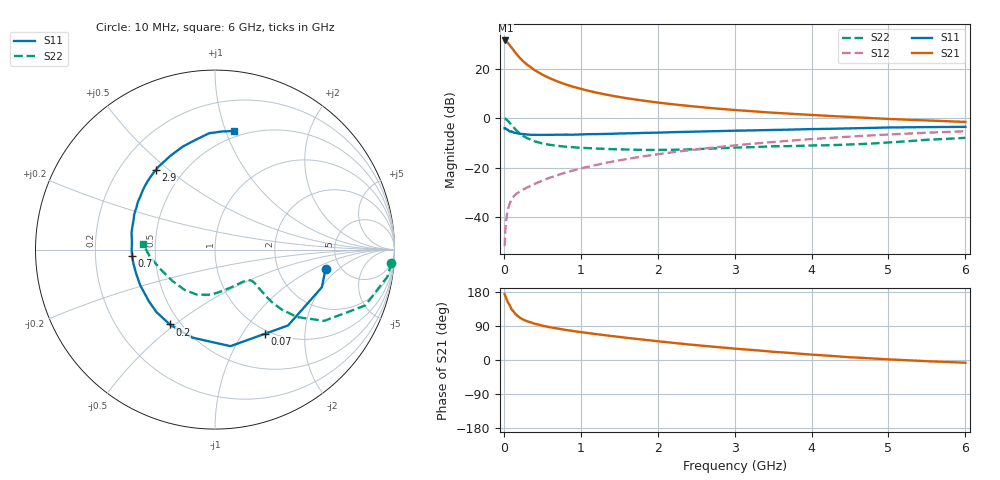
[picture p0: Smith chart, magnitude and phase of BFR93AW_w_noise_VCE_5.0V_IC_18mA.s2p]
! (c) 2017  Infineon Technologies AG, Munich
! Infineon Technologies  Discrete & RF Semiconductors
! BFR93AW
! VCE =  5.0 V,  IC =  18 mA
! Common Emitter S-Parameters:  Jan 2017
# GHz  S  MA  R  50
!  f  S11  S21  S12  S22
! GHz  MAG  ANG  MAG  ANG  MAG  ANG  MAG  ANG
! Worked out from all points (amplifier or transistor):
!   77 points, 10 MHz to 6 GHz, reference 50 ohm
!   highest |S21| = 31.4 dB at 20 MHz (marker M1)
!   |S21| within 3 dB of that: start of sweep to 103.6 MHz
!   unconditionally stable (mu >= 1): 699.7 MHz to 2.068 GHz
!   at 130 MHz: K = 0.42, MSG = 29.4 dB, |S12| = -31.6 dB
!   at 2.2 GHz: K = 0.99, MSG = 9.7 dB, |S12| = -13.7 dB
!   at 6 GHz: K = 0.87, MSG = 1.9 dB, |S12| = -5.3 dB
!   lowest NFmin = 1.47 dB at 450 MHz
!   S11 on the Smith chart (normalised r, x): 10 MHz: 3.85, -1.33; 70 MHz: 0.95, -1.27; 200 MHz: 0.44, -0.48; 700 MHz: 0.37, -0.03; 2.9 GHz: 0.35, +0.45; 6 GHz: 0.45, +1.07
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0.01  0.6254 -9.7  37.07 174.0  0.0026 83.4  0.9858 -4.3
0.02  0.6311 -19.4  37.08 168.5  0.0057 79.2  0.9725 -8.9
0.05  0.5869 -46.0  33.49 153.0  0.014 72.0  0.8931 -20.4
0.07  0.5453 -59.2  30.38 146.3  0.0176 66.4  0.8219 -24.9
0.1  0.5449 -80.9  26.69 133.7  0.0231 61.3  0.7267 -33.1
0.15  0.5064 -104.7  21.01 121.3  0.0285 56.3  0.5924 -39.4
0.2  0.4872 -121.2  16.98 112.9  0.0325 56.7  0.5015 -41.9
0.25  0.477 -133.2  14.17 106.7  0.0362 55.5  0.4389 -42.7
0.3  0.4678 -141.8  12.07 102.4  0.0397 57.6  0.3943 -42.5
0.4  0.4616 -154.4  9.331 95.6  0.0469 59.9  0.3408 -41.6
0.5  0.4593 -163.2  7.563 90.6  0.0548 61.6  0.3088 -40.7
0.6  0.4608 -170.0  6.372 86.5  0.0629 63.4  0.2891 -40.2
0.7  0.4632 -175.4  5.494 83.0  0.0708 65.5  0.2756 -40.1
0.9  0.464 175.8  4.309 76.5  0.0877 66.5  0.2588 -41.4
1.1  0.4745 168.6  3.572 71.0  0.105 67.6  0.2481 -43.8
1.5  0.49 156.9  2.674 60.9  0.1406 66.9  0.234 -52.0
2.1  0.5151 142.6  1.985 47.4  0.1961 63.9  0.2289 -69.9
2.9  0.5532 126.5  1.503 31.9  0.272 57.8  0.2506 -95.4
3.1  0.5613 122.7  1.424 28.5  0.2911 56.0  0.2565 -101.2
4.1  0.6049 105.7  1.139 12.9  0.3872 46.0  0.2818 -130.3
5.1  0.6504 91.6  0.95 0.7  0.4758 34.8  0.3301 -163.4
6  0.6684 81.0  0.84 -7.2  0.5447 24.4  0.4007 175.6
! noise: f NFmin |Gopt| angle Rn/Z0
0.45  1.47  0.13  155  0.14
0.9  1.74  0.23  172  0.15
1.9  2.74  0.47  -140  0.22
2.4  3.36  0.54  -127  0.43
